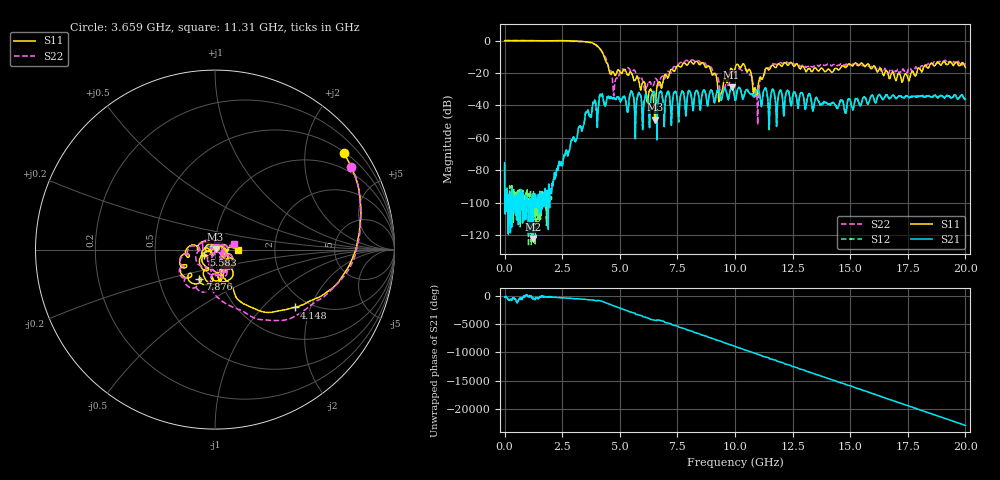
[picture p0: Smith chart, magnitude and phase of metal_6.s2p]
#  HZ  S  RI  R  50.00
! Rohde & Schwarz Vector Network Analyzer
! Rohde-Schwarz,ZNB20-2Port,1311601062102128,3.60
! Created: UTC 4/29/2024, 2:40:39 PM
! freq[Hz]  re:S11  im:S11  re:S21  im:S21  re:S12  im:S12  re:S22  im:S22
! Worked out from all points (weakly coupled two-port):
!   2007 points, 100 kHz to 20 GHz, reference 50 ohm
!   highest |S21| = -28.82 dB at 9.85 GHz (marker M1); lowest = -122.4 dB at 1.236 GHz (marker M2)
!   lowest |S11| = -48.9 dB at 6.521 GHz (marker M3), VSWR 1.01, Z = 50.4 + j0.0743 ohm
!   |S11| at or under -10 dB: 4.325 GHz to end of sweep
!   |S22| runs from -51.9 to 0.1 dB; largest |S21 - S12| = 0.0016
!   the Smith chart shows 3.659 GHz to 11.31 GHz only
!   S11 on the Smith chart (normalised r, x): 3.659 GHz: 0.53, +2.92; 4.148 GHz: 1.69, -1.56; 5.583 GHz: 0.88, -0.06; 7.876 GHz: 0.80, -0.27; 11.31 GHz: 1.29, +0.00
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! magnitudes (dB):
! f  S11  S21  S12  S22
! 100 kHz  0.0  -75.3  -76.5  0.1
! 1.236 GHz  0.0  -122.4  -96.4  -0.1
! 2.233 GHz  0.0  -83.0  -82.3  -0.3
! 3.34 GHz  -0.6  -55.7  -55.5  -0.6
! 3.659 GHz  -0.9  -45.6  -45.5  -1.0
! 4.148 GHz  -5.2  -33.3  -33.0  -5.1
! 4.756 GHz  -20.5  -35.7  -35.7  -30.2
! 5.583 GHz  -23.1  -34.4  -34.5  -18.5
! 6.521 GHz  -48.9  -33.6  -33.6  -24.3
! 6.67 GHz  -25.8  -36.3  -36.2  -26.9
! 7.876 GHz  -14.7  -45.3  -45.1  -12.1
! 8.863 GHz  -15.7  -35.2  -35.2  -16.6
! 9.362 GHz  -33.0  -35.5  -35.5  -33.0
! 9.85 GHz  -17.3  -28.8  -28.8  -20.4
! 10 GHz  -17.4  -36.6  -36.7  -20.4
! 10.65 GHz  -18.2  -32.7  -32.8  -20.8
! 10.93 GHz  -32.0  -30.9  -30.9  -33.1
! 11.31 GHz  -18.0  -29.4  -29.3  -19.0
! 11.48 GHz  -18.1  -54.5  -54.9  -17.0
! 13.34 GHz  -19.2  -39.7  -39.6  -16.0
! 16.67 GHz  -22.2  -35.4  -35.4  -20.3
! 20 GHz  -16.5  -36.1  -36.0  -13.9
